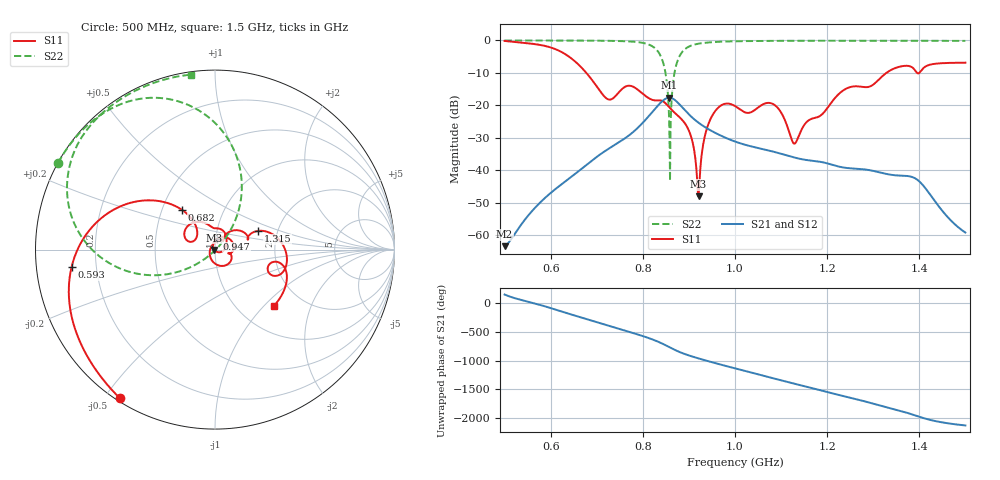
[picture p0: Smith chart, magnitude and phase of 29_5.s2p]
! TOUCHSTONE file generated by CST MICROWAVE STUDIO
! Date and time: Fri Oct  2 19:15:10 2020
! Project name: Scenario_1_Free_Space_out_of_line.cst
! Parameters = {Lambda=346.42; Step_1=17.321; dy1=-137.908; dx1=866; L_HA=400; MT=2.54; Rad_Dielectric=30; Rad_Lower=7.3; Rad_Upper=30; a_HA=580; a_WG=246; b_HA=500; b_WG=121; c_HA=0; c_WG=187; d_feed=85; h_feed=15; h_lower=18; h_upper=40}
! Header version: 2018
! Port assignment regex: !\s*Touchstone port\s*([0-9]+)\s*=\s*(CST MWS port|CST DS port)\s*([0-9]+|Zmin|Zmax)\s*\(\"(.*)\"\)(\s*mode\s*([0-9]+))?.*
! Touchstone port assignment:
! Touchstone port 1 = CST MWS port 1 ("")
! Touchstone port 2 = CST MWS port 2 ("")
# GHz S DB R 50
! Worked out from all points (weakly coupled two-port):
!   1003 points, 500 MHz to 1.5 GHz, reference 50 ohm
!   highest |S21| = -17.65 dB at 857 MHz (marker M1); lowest = -63.4 dB at 500 MHz (marker M2)
!   lowest |S11| = -48.1 dB at 921 MHz (marker M3), VSWR 1.01, Z = 49.6 - j0.144 ohm
!   |S11| at or under -10 dB: 677.3 MHz to 1.329 GHz (651.3 MHz wide, 64.9 % of centre); 1.395019 GHz to 1.39993 GHz (4.911 MHz wide, 0.351 % of centre)
!   |S22| runs from -43.3 to 0.0 dB; largest |S21 - S12| = 6.3e-05
!   S11 on the Smith chart (normalised r, x): 500 MHz: 0.01, -0.55; 593 MHz: 0.11, -0.06; 682 MHz: 0.63, +0.31; 947 MHz: 1.01, +0.12; 1.315 GHz: 1.58, +0.35; 1.5 GHz: 1.44, -1.14
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0.5  -0.15 -122.6  -63.41 142.5  -63.41 142.5  -0.01 151.1
0.593  -1.88 -173.0  -47.86 -74.7  -47.86 -74.7  -0.02 144.6
0.667  -8.39 136.4  -39.56 104.3  -39.56 104.3  -0.04 138.3
0.682  -10.79 129.8  -37.86 69.0  -37.86 69.0  -0.05 136.8
0.725  -18.17 146.1  -33.45 -35.5  -33.45 -35.5  -0.12 131.5
0.771  -13.95 139.9  -29.15 -145.8  -29.15 -145.8  -0.31 122.8
0.834  -18.48 83.7  -19.86 42.6  -19.86 42.6  -3.63 86.2
0.848  -19.20 60.9  -18.08 -9.4  -18.08 -9.4  -9.15 64.8
0.857  -20.55 47.3  -17.65 -46.0  -17.65 -46.0  -24.17 45.4
0.878  -23.45 21.3  -19.48 -127.0  -19.48 -127.0  -5.33 -168.9
0.904  -29.33 -24.3  -23.36 157.3  -23.36 157.3  -1.65 166.2
0.921  -48.07 -158.5  -25.38 116.0  -25.38 116.0  -1.00 157.7
0.933  -30.49 110.9  -26.54 88.5  -26.54 88.5  -0.76 153.5
0.947  -24.17 79.9  -27.72 57.2  -27.72 57.2  -0.57 149.7
1  -20.22 -7.1  -31.16 -55.8  -31.16 -55.8  -0.26 140.2
1.084  -19.72 -60.5  -34.31 130.2  -34.31 130.2  -0.13 131.1
1.129  -31.82 155.2  -36.09 38.2  -36.09 38.2  -0.11 127.2
1.167  -24.12 49.4  -37.08 -36.9  -37.08 -36.8  -0.10 124.1
1.315  -11.66 23.5  -40.71 20.2  -40.71 20.2  -0.09 112.9
1.334  -9.48 14.3  -41.30 -19.7  -41.30 -19.7  -0.09 111.4
1.396  -10.11 -20.2  -42.98 -164.0  -42.98 -164.0  -0.10 106.6
1.5  -6.85 -43.9  -59.22 35.3  -58.89 37.7  -0.14 97.8
